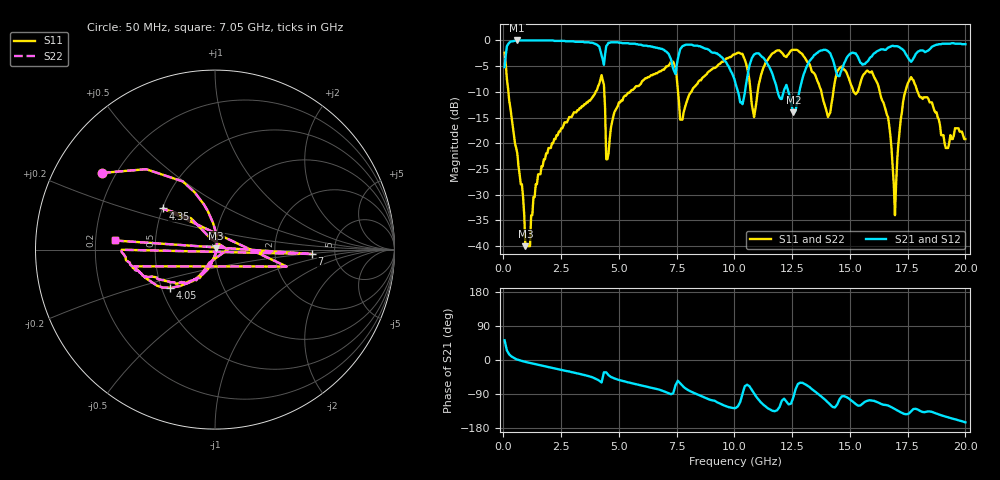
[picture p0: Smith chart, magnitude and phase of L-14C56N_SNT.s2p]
#	mhz	s	ma	r	50
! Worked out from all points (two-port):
!   400 points, 50 MHz to 20 GHz, reference 50 ohm
!   highest |S21| = 0.00 dB at 600 MHz (marker M1); lowest = -14.0 dB at 12.55 GHz (marker M2)
!   |S21| within 3 dB of the highest: 96.87 MHz to 4.258 GHz (4.161 GHz wide, 191 % of centre); 4.393 GHz to 7.19 GHz (2.797 GHz wide, 48.3 % of centre) (the widest 2 of 8)
!   lowest |S11| = -40.0 dB at 950 MHz (marker M3), VSWR 1.02, Z = 50.6 + j0.803 ohm
!   |S11| at or under -10 dB: 213.5 MHz to 3.991 GHz (3.777 GHz wide, 180 % of centre); 4.365 GHz to 5.481 GHz (1.116 GHz wide, 22.7 % of centre); 17.93 GHz to end of sweep (the widest 3 of 8)
!   |S22| runs from -40.0 to -1.8 dB; largest |S21 - S12| = 0
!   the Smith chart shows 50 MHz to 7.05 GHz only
!   S11 on the Smith chart (normalised r, x): 50 MHz: 0.15, +0.30; 4.05 GHz: 0.55, -0.26; 4.35 GHz: 0.50, +0.27; 7 GHz: 3.33, -0.23; 7.05 GHz: 0.28, +0.04
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50  0.76 145.8  0.55 52.1  0.55 52.1  0.76 145.8
600  0.08 83.1  1 1.2  1 1.2  0.08 83.1
950  0.01 52.5  1 -5.0  1 -5.0  0.01 52.5
3400  0.23 -127.7  0.97 -38.2  0.97 -38.2  0.23 -127.7
4050  0.33 -140.0  0.91 -50.8  0.91 -50.8  0.33 -140.0
4250  0.46 -168.3  0.72 -59.3  0.72 -59.3  0.46 -168.3
4300  0.41 -13.3  0.65 -45.9  0.65 -45.9  0.41 -13.3
4350  0.37 141.7  0.58 -32.5  0.58 -32.5  0.37 141.7
4500  0.07 -0.2  0.91 -36.3  0.91 -36.3  0.07 -0.2
6700  0.49 -172.2  0.84 -77.5  0.84 -77.5  0.49 -172.2
6950  0.52 -179.9  0.81 -82.3  0.81 -82.3  0.52 -179.9
7000  0.54 -2.6  0.79 -83.7  0.79 -83.7  0.54 -2.6
7050  0.56 174.8  0.78 -85.1  0.78 -85.1  0.56 174.8
7750  0.17 163.7  0.88 -68.4  0.88 -68.4  0.17 163.7
10050  0.74 125.4  0.38 -126.9  0.38 -126.9  0.74 125.4
10850  0.18 118.5  0.73 -87.8  0.73 -87.8  0.18 118.5
12550  0.81 87.2  0.2 -98.8  0.2 -98.8  0.81 87.2
13350  0.5 44.2  0.67 -76.7  0.67 -76.7  0.5 44.2
16700  0.15 -21.4  0.86 -121.5  0.86 -121.5  0.15 -21.4
16950  0.02 25.8  0.88 -129.7  0.88 -129.7  0.02 25.8
17650  0.44 55.1  0.62 -135.5  0.62 -135.5  0.44 55.1
20000  0.11 -87.1  0.92 -164.5  0.92 -164.5  0.11 -87.1
